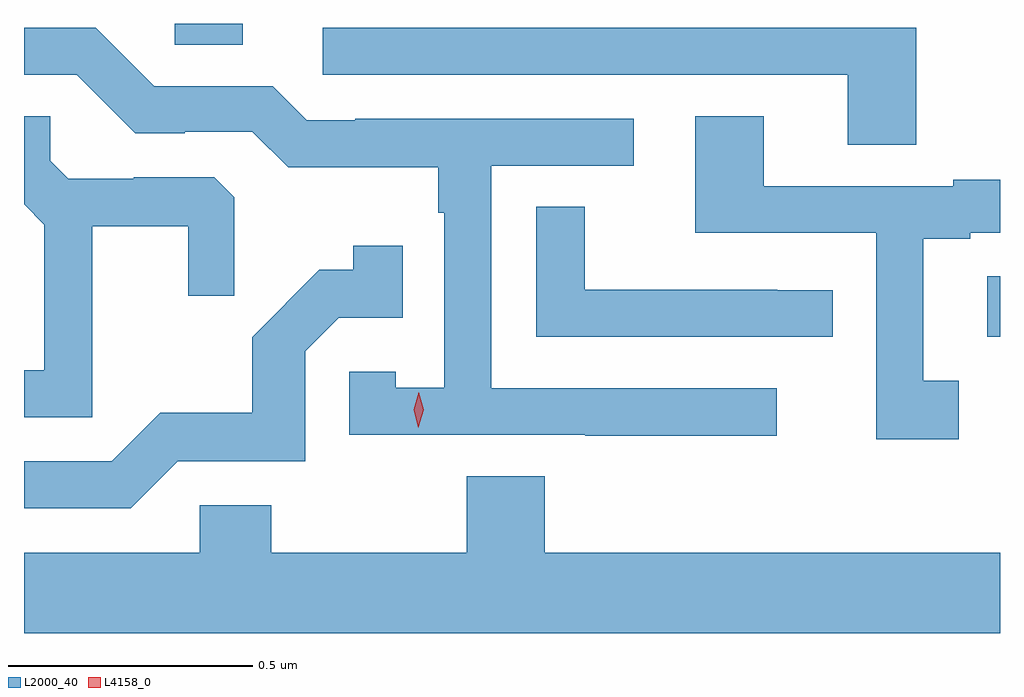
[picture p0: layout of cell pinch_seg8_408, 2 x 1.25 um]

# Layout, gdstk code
import gdstk
lib = gdstk.Library(unit=1e-6, precision=1e-09)
def R(c, l, rs):  # rectangles x0, y0, x1, y1
    for r in rs: c.add(gdstk.rectangle(r[:2], r[2:], *l))
def P(c, l, *ps):  # polygons
    for p in ps: c.add(gdstk.Polygon(p, *l))
L2000_40 = (2000, 40)
L4158_0 = (4158, 0)

pinch_seg8_408 = lib.new_cell('pinch_seg8_408')
R(pinch_seg8_408, L2000_40, [(548.571,1083.807,548.597,1083.931), (546.906,1084.405,547.045,1084.448)])
P(pinch_seg8_408, L2000_40, [(548.425,1084.44),(547.209,1084.44),(547.209,1084.344),(548.285,1084.344),(548.285,1084.201),(548.425,1084.201)],
  [(548.14,1083.702),(547.554,1083.702),(547.554,1084.158),(547.846,1084.158),(547.846,1084.254),(547.276,1084.254),(547.276,1084.251),(547.176,1084.251),(547.107,1084.32),(546.864,1084.32),(546.744,1084.44),(546.597,1084.44),(546.597,1084.344),(546.705,1084.344),(546.825,1084.224),(546.926,1084.224),(546.926,1084.227),(547.065,1084.227),(547.138,1084.154),(547.446,1084.154),(547.446,1084.061),(547.458,1084.061),(547.458,1083.703),(547.359,1083.703),(547.359,1083.735),(547.263,1083.735),(547.263,1083.606),(547.747,1083.606),(547.747,1083.604),(548.14,1083.604)],
  [(548.512,1083.717),(548.44,1083.717),(548.44,1084.008),(548.536,1084.008),(548.536,1084.02),(548.597,1084.02),(548.597,1084.129),(548.501,1084.129),(548.501,1084.116),(548.113,1084.116),(548.113,1084.259),(547.973,1084.259),(547.973,1084.02),(548.343,1084.02),(548.343,1083.597),(548.512,1083.597)],
  [(546.737,1084.034),(546.934,1084.034),(546.934,1083.891),(547.028,1083.891),(547.028,1084.093),(546.987,1084.134),(546.822,1084.134),(546.822,1084.131),(546.688,1084.131),(546.651,1084.168),(546.651,1084.259),(546.597,1084.259),(546.597,1084.079),(546.639,1084.037),(546.639,1083.738),(546.597,1083.738),(546.597,1083.642),(546.737,1083.642)],
  [(548.254,1083.902),(548.141,1083.902),(548.141,1083.903),(547.746,1083.903),(547.746,1084.073),(547.647,1084.073),(547.647,1083.807),(548.254,1083.807)],
  [(546.912,1083.552),(547.173,1083.552),(547.173,1083.777),(547.242,1083.846),(547.373,1083.846),(547.373,1083.994),(547.272,1083.994),(547.272,1083.944),(547.202,1083.944),(547.065,1083.806),(547.065,1083.651),(546.876,1083.651),(546.777,1083.552),(546.597,1083.552),(546.597,1083.456),(546.816,1083.456)],
  [(548.597,1083.364),(547.664,1083.364),(547.664,1083.521),(547.504,1083.521),(547.504,1083.364),(547.104,1083.364),(547.104,1083.462),(546.957,1083.462),(546.957,1083.364),(546.597,1083.364),(546.597,1083.2),(548.597,1083.2)])
P(pinch_seg8_408, L4158_0, [(547.405,1083.621),(547.405,1083.621),(547.396,1083.657),(547.406,1083.693),(547.406,1083.693),(547.406,1083.693),(547.416,1083.657),(547.405,1083.621)])

lib.write_gds('pinch_seg8_408.gds')
